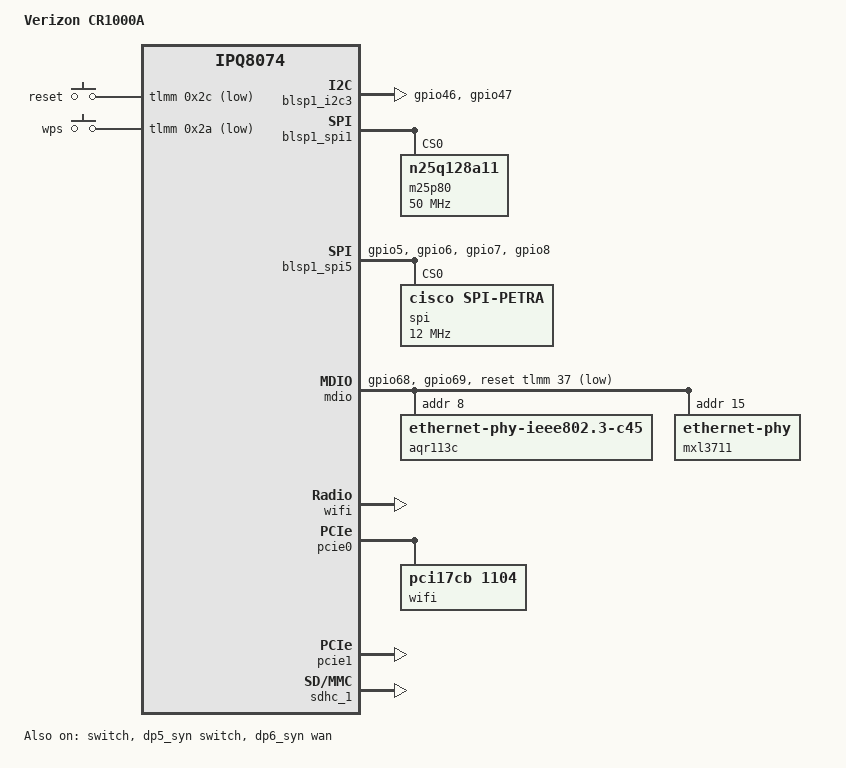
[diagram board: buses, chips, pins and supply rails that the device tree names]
// SPDX-License-Identifier: GPL-2.0-or-later OR MIT

/dts-v1/;

#include "ipq8074.dtsi"
#include "ipq8074-ess.dtsi"
#include "ipq8074-nss.dtsi"
#include "ipq8074-common.dtsi"
#include "ipq8074-hk-cpu.dtsi"

#include <dt-bindings/gpio/gpio.h>
#include <dt-bindings/input/input.h>
#include <dt-bindings/leds/common.h>

/ {
	model = "Verizon CR1000A";
	compatible = "verizon,cr1000a", "qcom,ipq8074";

	aliases {
		serial0 = &blsp1_uart5;

		ethernet4 = &dp5;
		ethernet5 = &dp6;
		label-mac-device = &dp5_syn;
	};

	chosen {
		stdout-path = "serial0:115200n8";
	};

	keys {
		compatible = "gpio-keys";

		reset {
			debounce-interval = <0x3c>;
			gpios = <&tlmm 0x2c GPIO_ACTIVE_LOW>;
			label = "reset";
			linux,code = <KEY_RESTART>;
		};

		wps {
			debounce-interval = <0x3c>;
			gpios = <&tlmm 0x2a GPIO_ACTIVE_LOW>;
			label = "wps";
			linux,code = <KEY_WPS_BUTTON>;
		};
	};
};

&blsp1_i2c3 {
	status = "okay";
	pinctrl-0 = <&i2c_2_pins>;
	pinctrl-names = "default";
};

&blsp1_spi1 {
	status = "okay";

	m25p80@0 {
	 	#address-cells = <0x01>;
	 	#size-cells = <0x01>;
	 	reg = <0x00>;
	 	compatible = "n25q128a11", "jdec,spi-nor";
	 	linux,modalias = "m25p80", "n25q128a11";
	 	spi-max-frequency = <0x2faf080>;
	 	use-default-sizes;
	};
};

&blsp1_spi5 {
	status = "okay";
	pinctrl-0 = <&spi_4_pins>;
	pinctrl-names = "default";

	spi@4 {
	 	// compatible = "qca,spidev";
		compatible = "cisco,spi-petra";
		reg = <0x00>;
		spi-max-frequency = <12000000>;
	};
};

&tlmm {
	mdio_pins: mdio-pins {
		mdc {
			pins = "gpio68";
			function = "mdc";
			drive-strength = <8>;
			bias-pull-up;
		};

		mdio {
			pins = "gpio69";
			function = "mdio";
			drive-strength = <8>;
			bias-pull-up;
		};
	};

	spi_4_pins: spi-4-pins {
		pins = "gpio5", "gpio6", "gpio7", "gpio8";
		function = "blsp4_spi0";
		drive-strength = <8>;
		bias-disable;
	};

	i2c_2_pins: i2c-2-pins {
		pins = "gpio46", "gpio47";
		function = "blsp2_i2c";
		drive-strength = <8>;
		bias-disable;
	};
};

&mdio {
	status = "okay";
	pinctrl-0 = <&mdio_pins>;
	pinctrl-names = "default";
	reset-gpios = <&tlmm 37 GPIO_ACTIVE_LOW>;

	aqr113c: ethernet-phy@8 {
		compatible = "ethernet-phy-ieee802.3-c45";
		reg = <0x08>;
		// reset-gpios = <&tlmm 63 GPIO_ACTIVE_LOW>;
	};

	mxl3711: ethernet-phy@f {
		//compatible = "ethernet-phy-ieee802.3-c45";
		reg = <0x0f>;
		// reset-gpios = <&tlmm 63 GPIO_ACTIVE_LOW>;
	};
};

&switch {
	status = "okay";

	switch_lan_bmp = <(ESS_PORT1 | ESS_PORT2 | ESS_PORT3 | ESS_PORT4 | ESS_PORT5)>;
	switch_wan_bmp = <ESS_PORT6>;
	switch_mac_mode = <MAC_MODE_PSGMII>;
	switch_mac_mode1 = <MAC_MODE_10GBASE_R>;
	switch_mac_mode2 = <MAC_MODE_USXGMII>;

	qcom,port_phyinfo {
		aqr113c_0:port@1 {
			port_id = <1>;
			phy_address = <0x0>;
                        ethernet-phy-ieee802.3-c45;
		};

		rtl8221b_1:port@2 {
			port_id = <2>;
			phy_address = <0x7>;
		};	

                rtl8221b_2:port@3 {
			port_id = <3>;
			phy_address = <0x3>;
		};

                mxl3711:port@4 {
			port_id = <4>;
			phy_address = <0x15>;
		};

		rtl9303:port@5 {
			port_id = <5>;
			phy_address = <0x4>;
		};

		port@6 {
			port_id = <6>;
			phy_address = <0x8>;
                        ethernet-phy-ieee802.3-c45;
		};
	};
};

&wifi {
	status = "okay";
	qcom,ath11k-fw-memory-mode = <1>;
	qcom,ath11k-calibration-variant = "Verizon-CR1000A";
};

&dp5_syn {
	status = "okay";
        phy-mode = "usxgmii";
	phy-handle = <&rtl9303>;
	label = "switch";
};

&dp6_syn {
	status = "okay";
        phy-mode = "usxgmii";
	phy-handle = <&aqr113c>;
	label = "wan";
};

&pcie0 {
	status = "okay";
	perst-gpio = <&tlmm 58 GPIO_ACTIVE_LOW>;

	bridge@0,0 {
		reg = <0x00000000 0 0 0 0>;
		#address-cells = <3>;
		#size-cells = <2>;
		ranges;

		wifi@1,0 {
			status = "okay";
			compatible = "pci17cb,1104";
			reg = <0x00010000 0 0 0 0>;
			qcom,ath11k-fw-memory-mode = <1>;
			qcom,ath11k-calibration-variant = "Verizon-CR1000A";
		};
	};
};

&edma {
	status = "okay";
};

&pcie1 {
	status = "okay";
};

&sdhc_1 {
	status = "okay";
};
